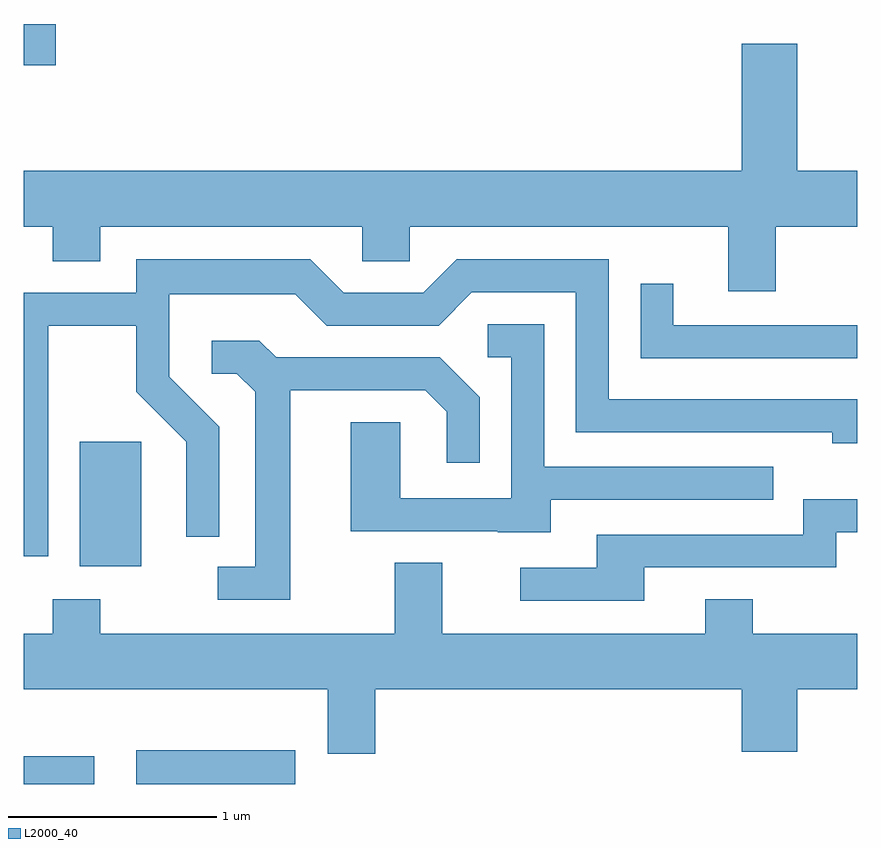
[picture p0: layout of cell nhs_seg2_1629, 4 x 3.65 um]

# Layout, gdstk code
import gdstk
lib = gdstk.Library(unit=1e-6, precision=1e-09)
def R(c, l, rs):  # rectangles x0, y0, x1, y1
    for r in rs: c.add(gdstk.rectangle(r[:2], r[2:], *l))
def P(c, l, *ps):  # polygons
    for p in ps: c.add(gdstk.Polygon(p, *l))
L2000_40 = (2000, 40)

nhs_seg2_1629 = lib.new_cell('nhs_seg2_1629')
R(nhs_seg2_1629, L2000_40, [(231.611,1107.802,231.949,1107.934), (232.151,1107.802,232.914,1107.964), (231.881,1108.846,232.174,1109.444), (231.611,1111.251,231.764,1111.449)])
P(nhs_seg2_1629, L2000_40, [(235.219,1110.476),(235.611,1110.476),(235.611,1110.744),(235.324,1110.744),(235.324,1111.354),(235.056,1111.354),(235.056,1110.744),(231.611,1110.744),(231.611,1110.476),(231.751,1110.476),(231.751,1110.311),(231.979,1110.311),(231.979,1110.476),(233.236,1110.476),(233.236,1110.311),(233.464,1110.311),(233.464,1110.476),(234.991,1110.476),(234.991,1110.166),(235.219,1110.166)],
  [(231.729,1110.001),(232.151,1110.001),(232.151,1109.684),(232.391,1109.444),(232.391,1108.988),(232.549,1108.988),(232.549,1109.517),(232.309,1109.757),(232.309,1110.151),(232.914,1110.151),(233.064,1110.001),(233.602,1110.001),(233.762,1110.161),(234.261,1110.161),(234.261,1109.491),(235.491,1109.491),(235.491,1109.436),(235.611,1109.436),(235.611,1109.649),(234.419,1109.649),(234.419,1110.319),(233.689,1110.319),(233.529,1110.159),(233.147,1110.159),(232.987,1110.319),(232.151,1110.319),(232.151,1110.159),(231.611,1110.159),(231.611,1108.896),(231.729,1108.896)],
  [(235.611,1110.004),(234.729,1110.004),(234.729,1110.203),(234.571,1110.203),(234.571,1109.846),(235.611,1109.846)],
  [(234.139,1109.166),(235.208,1109.166),(235.208,1109.324),(234.109,1109.324),(234.109,1110.009),(233.838,1110.009),(233.838,1109.851),(233.951,1109.851),(233.951,1109.174),(233.419,1109.174),(233.419,1109.539),(233.181,1109.539),(233.181,1109.016),(233.885,1109.016),(233.885,1109.011),(234.139,1109.011)],
  [(232.889,1109.691),(233.539,1109.691),(233.641,1109.589),(233.641,1109.343),(233.799,1109.343),(233.799,1109.657),(233.607,1109.849),(232.822,1109.849),(232.742,1109.929),(232.513,1109.929),(232.513,1109.771),(232.634,1109.771),(232.721,1109.684),(232.721,1108.844),(232.543,1108.844),(232.543,1108.686),(232.889,1108.686)],
  [(234.589,1108.841),(235.509,1108.841),(235.509,1109.011),(235.611,1109.011),(235.611,1109.169),(235.351,1109.169),(235.351,1108.999),(234.361,1108.999),(234.361,1108.839),(233.993,1108.839),(233.993,1108.681),(234.589,1108.681)],
  [(233.299,1108.256),(235.056,1108.256),(235.056,1107.956),(235.324,1107.956),(235.324,1108.256),(235.611,1108.256),(235.611,1108.524),(235.109,1108.524),(235.109,1108.689),(234.881,1108.689),(234.881,1108.524),(233.619,1108.524),(233.619,1108.864),(233.391,1108.864),(233.391,1108.524),(231.979,1108.524),(231.979,1108.689),(231.751,1108.689),(231.751,1108.524),(231.611,1108.524),(231.611,1108.256),(233.071,1108.256),(233.071,1107.946),(233.299,1107.946)])

lib.write_gds('nhs_seg2_1629.gds')
